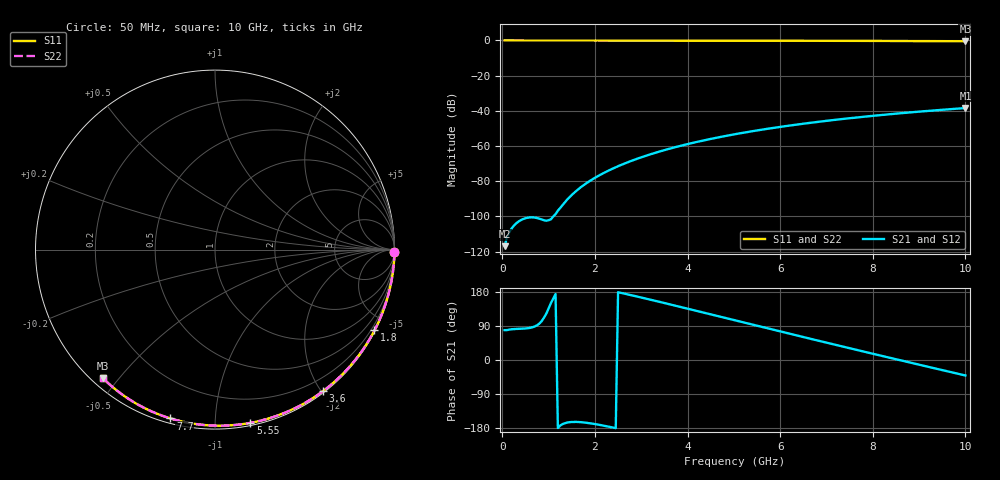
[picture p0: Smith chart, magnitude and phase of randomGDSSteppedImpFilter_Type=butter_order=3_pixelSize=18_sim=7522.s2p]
! freq	dB(S11)	phase(S11)	dB(S12)	phase(S12)
!  dB(S21)	phase(S21)	dB(S22)	phase(S22)
!S-par simulation data
#  GHz  S  DB  R 50
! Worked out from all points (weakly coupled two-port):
!   200 points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, 50 MHz to 10 GHz, reference 50 ohm
!   highest |S21| = -38.44 dB at 10 GHz (marker M1); lowest = -117.0 dB at 50 MHz (marker M2)
!   lowest |S11| = -0.4 dB at 10 GHz (marker M3), VSWR 39.14, Z = 1.54 - j22.7 ohm
!   |S11| at or under -10 dB: nowhere
!   |S22| runs from -0.4 to 0.0 dB; largest |S21 - S12| = 0
!   S11 on the Smith chart (normalised r, x): 50 MHz: open; 1.8 GHz: 0.04, -4.19; 3.6 GHz: 0.02, -2.03; 5.55 GHz: 0.02, -1.22; 7.7 GHz: 0.02, -0.77; 10 GHz: 0.03, -0.45
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0.05  -0.00 -0.8  -116.97 78.8  -116.97 78.8  -0.00 -0.8
0.9  -0.02 -13.6  -102.23 111.7  -102.23 111.7  -0.02 -13.6
1.75  -0.03 -26.1  -82.40 -164.7  -82.40 -164.7  -0.03 -26.1
1.8  -0.03 -26.9  -81.47 -165.4  -81.47 -165.4  -0.03 -26.9
1.85  -0.04 -27.6  -80.58 -166.2  -80.58 -166.2  -0.04 -27.6
1.9  -0.04 -28.3  -79.73 -167.1  -79.73 -167.1  -0.04 -28.3
2.05  -0.04 -30.5  -77.35 -170.1  -77.35 -170.1  -0.04 -30.5
2.25  -0.04 -33.4  -74.56 -174.7  -74.56 -174.7  -0.04 -33.4
2.45  -0.05 -36.3  -72.08 -179.8  -72.08 -179.8  -0.05 -36.3
2.65  -0.05 -39.2  -69.86 174.8  -69.86 174.8  -0.05 -39.2
3  -0.06 -44.1  -66.46 164.9  -66.46 164.9  -0.06 -44.1
3.4  -0.07 -49.8  -63.12 153.3  -63.12 153.3  -0.07 -49.8
3.6  -0.07 -52.5  -61.63 147.4  -61.63 147.4  -0.07 -52.5
4.3  -0.09 -62.1  -57.12 126.5  -57.12 126.5  -0.09 -62.1
5.05  -0.11 -72.0  -53.19 103.9  -53.19 103.9  -0.11 -72.0
5.55  -0.13 -78.5  -50.95 88.9  -50.95 88.9  -0.13 -78.5
6.1  -0.15 -85.4  -48.77 72.5  -48.77 72.5  -0.15 -85.4
6.7  -0.18 -92.8  -46.67 54.6  -46.67 54.6  -0.18 -92.8
7.7  -0.24 -104.8  -43.66 25.2  -43.66 25.2  -0.24 -104.8
8.35  -0.29 -112.4  -41.98 6.3  -41.98 6.3  -0.29 -112.4
9.15  -0.36 -121.5  -40.15 -16.6  -40.15 -16.6  -0.36 -121.5
10  -0.44 -131.1  -38.44 -40.9  -38.44 -40.9  -0.44 -131.1
